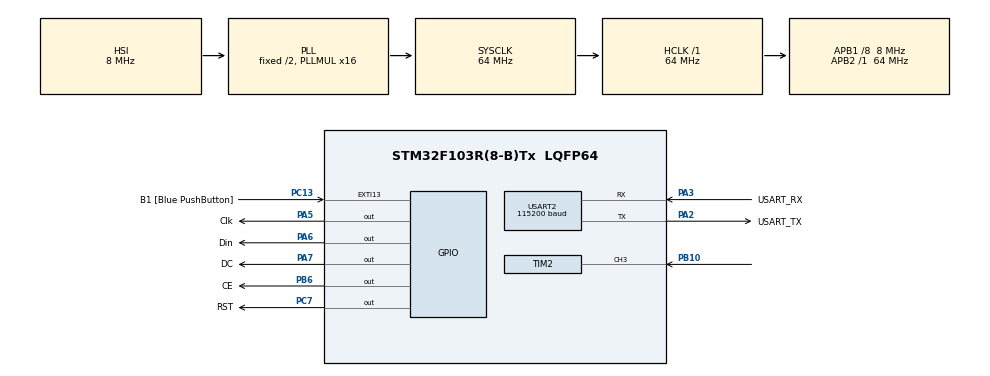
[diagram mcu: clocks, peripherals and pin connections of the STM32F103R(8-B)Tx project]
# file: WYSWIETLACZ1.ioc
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Mcu.Family=STM32F1
Mcu.Name=STM32F103R(8-B)Tx
Mcu.Package=LQFP64
NVIC.EXTI15_10_IRQn=true\:0\:0\:false\:false\:true\:true\:true
NVIC.PriorityGroup=NVIC_PRIORITYGROUP_4
NVIC.TIM2_IRQn=true\:0\:0\:false\:false\:true\:true\:true
NVIC.USART2_IRQn=true\:0\:0\:false\:false\:true\:true\:true
PA13.GPIO_Label=TMS
PA13.Mode=Serial_Wire
PA13.Signal=SYS_JTMS-SWDIO
PA14.GPIO_Label=TCK
PA14.Mode=Serial_Wire
PA14.Signal=SYS_JTCK-SWCLK
PA2.GPIO_Label=USART_TX
PA2.GPIO_Mode=GPIO_MODE_AF_PP
PA2.GPIO_PuPd=GPIO_NOPULL
PA2.GPIO_Speed=GPIO_SPEED_FREQ_LOW
PA2.Mode=Asynchronous
PA2.Signal=USART2_TX
PA3.GPIO_Label=USART_RX
PA3.GPIO_Mode=GPIO_MODE_AF_PP
PA3.GPIO_PuPd=GPIO_NOPULL
PA3.GPIO_Speed=GPIO_SPEED_FREQ_LOW
PA3.Mode=Asynchronous
PA3.Signal=USART2_RX
PA5.GPIO_Label=Clk
PA5.Signal=GPIO_Output
PA6.GPIO_Label=Din
PA6.Signal=GPIO_Output
PA7.GPIO_Label=DC
PA7.Signal=GPIO_Output
PB10.Signal=S_TIM2_CH3
PB3.GPIO_Label=SWO
PB3.Signal=SYS_JTDO-TRACESWO
PB6.GPIO_Label=CE
PB6.Signal=GPIO_Output
PC13-TAMPER-RTC.GPIO_Label=B1 [Blue PushButton]
PC13-TAMPER-RTC.GPIO_PuPd=GPIO_NOPULL
PC13-TAMPER-RTC.Signal=GPXTI13
PC14-OSC32_IN.Mode=LSE-External-Oscillator
PC14-OSC32_IN.Signal=RCC_OSC32_IN
PC15-OSC32_OUT.Mode=LSE-External-Oscillator
PC15-OSC32_OUT.Signal=RCC_OSC32_OUT
PC7.GPIO_Label=RST
PC7.Signal=GPIO_Output
PD0-OSC_IN.Mode=HSE-External-Clock-Source
PD0-OSC_IN.Signal=RCC_OSC_IN
PD1-OSC_OUT.Mode=HSE-External-Clock-Source
PD1-OSC_OUT.Signal=RCC_OSC_OUT
ProjectManager.HeapSize=0x200
ProjectManager.StackSize=0x400
ProjectManager.TargetToolchain=STM32CubeIDE
RCC.AHBFreq_Value=64000000
RCC.APB1CLKDivider=RCC_HCLK_DIV8
RCC.APB1Freq_Value=8000000
RCC.APB1TimFreq_Value=16000000
RCC.APB2Freq_Value=64000000
RCC.APB2TimFreq_Value=64000000
RCC.HCLKFreq_Value=64000000
RCC.PLLMUL=RCC_PLL_MUL16
RCC.RTCClockSelection=RCC_RTCCLKSOURCE_LSE
RCC.SYSCLKFreq_VALUE=64000000
RCC.SYSCLKSource=RCC_SYSCLKSOURCE_PLLCLK
RCC.USBFreq_Value=64000000
SH.S_TIM2_CH3.0=TIM2_CH3,Input_Capture3_from_TI3
TIM1.Period=(1000000 / 1000) - 1
TIM2.Channel-Input_Capture3_from_TI3=TIM_CHANNEL_3
TIM2.Period=0xffff
TIM2.Prescaler=32-1
USART2.BaudRate=115200
USART2.VirtualMode=VM_ASYNC
VP_TIM1_VS_ClockSourceINT.Mode=Internal
board=NUCLEO-F103RB

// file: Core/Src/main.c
/* USER CODE BEGIN Header */
/**
  ******************************************************************************
  * @file           : main.c
  * @brief          : Main program body
  ******************************************************************************
  * @attention
  *
  * <h2><center>&copy; Copyright (c) 2021 STMicroelectronics.
  * All rights reserved.</center></h2>
  *
  * This software component is licensed by ST under BSD 3-Clause license,
  * the "License"; You may not use this file except in compliance with the
  * License. You may obtain a copy of the License at:
  *                        opensource.org/licenses/BSD-3-Clause
  *
  ******************************************************************************
  */
/* USER CODE END Header */
#include "main.h"
#include "tim.h"
#include "usart.h"
#include "gpio.h"

/* USER CODE BEGIN Includes */
#include <stdio.h>
#include <stdbool.h>
#include "math.h"
#include "nokia5110_LCD.h"

/* USER CODE END Includes */

/* USER CODE BEGIN PM */
#define numReadings 30
/* USER CODE END PM */

/* USER CODE BEGIN PV */

//USART
char RxBUF[200]; // bufor do odbioru
char TxBUF[200]; // bufor do nadawania
uint8_t temp[1]; // zmienna na pojedynczy znak
uint8_t rx_e = 0, rx_f = 0; // wskaźniki w buforze do odbioru
uint8_t tx_e = 0, tx_f = 0; // wskaźniki w buforze do nadawania

//Protokół
uint8_t counter = 0; // wskaźnik dla komendy bufora odbiorczego
bool frameStarted = false; // wskaźnik odczytania początku ramki
bool frameCompleted = false; // wskaźnik kompletności ramki
int dataLength; // długośc pola danych
bool sign0xEAIsRead = false; // wskaźnik odczytania znaku specjalnego
uint8_t error;
char frame[100];
bool crcCorrect; // wskaźnik poprawności kodu kontrolnego
char crc[2]; // kod kontrolny odczytany w ramce
char hello_command[] = "Hello, I am STM32!!! \n\r";

//Licznie impulsów
int readings[numReadings];
int indeks = 0;
long value_1 = 0;
long value_2 = 0;
long Difference = 0;
int CPM = 0;
bool Is_First_Captured = 0;
int total = 0;
float uSperH;
int meanCPM = 0;
float uSperHmax = 0.0;
/* USER CODE END PV */

void SystemClock_Config(void);
/* USER CODE BEGIN PFP */

// KONFIGURACJA PINÓW NA STMF103RB:

//WYSWIETLACZ:
//RST --> PC7
//CE  --> PB6
//DC  --> PA7
//Din --> PA6
//Clk --> PA5

void HAL_TIM_IC_CaptureCallback(TIM_HandleTypeDef *htim2)
{
	if (htim2->Channel == HAL_TIM_ACTIVE_CHANNEL_3)  // tim 2 i channel 3 jest aktywny
	{
		if (Is_First_Captured==0)  // jeśli flaga jest równa zero to wykonujemy:
		{
			value_1 = HAL_TIM_ReadCapturedValue(htim2, TIM_CHANNEL_3);  // pobieramy pierwszą wartość
			Is_First_Captured =1;  // ustawiamy naszą flagę na 1 (true)
		}

		else if (Is_First_Captured)  // jeśli flaga jest podniesiona to:
		{
			value_2 = HAL_TIM_ReadCapturedValue(htim2, TIM_CHANNEL_3);  // pobieramy drugą wartość:

			if (value_2 > value_1)
			{
				Difference = value_2-value_1;   // Wyliczenie różnicy
			}

			else if (value_2 < value_1)
			{
				Difference = ((0xffff-value_1)+value_2) +1; // to samo tylko jeśli value_1 jest większy od 0xffff to nasz prescaler (maksymalna wartość)
			}

			else
			{
				Error_Handler(); //jeśli coś innego to error
			}

			//CPM = ((HAL_RCC_GetPCLK1Freq()/1000)/Difference);  // liczenie wartości CPM
			Is_First_Captured = 0;  // resetowanie flagi naszej.

		}

		CPM = 400000 / Difference;
		//CPM = ((HAL_RCC_GetPCLK1Freq()/1000)/Difference);  // liczenie wartości CPM

		LCD_clrScr();

		uSperH = ((CPM * 0.006666));   // Konwertowanie wartości
		if (uSperH > uSperHmax) {
			  uSperHmax = uSperH;
			}
		char res[1000];
		sprintf(res, "uSH: %.4f", uSperH);
		LCD_print(res,0,3);
		for (int i = 0; i < numReadings; i++) {
			  readings[i] = 0;
			}

		total -= readings[indeks];
		readings[indeks] = CPM;
		total += readings[indeks];
		indeks = (indeks + 1);

		if (indeks >= numReadings){
			indeks = 0;
		}

		meanCPM = total / numReadings;

		 char tab_cpm[1000];
		 sprintf(tab_cpm, "CPM: %d", CPM);
		 LCD_print(tab_cpm,0,2);

		 char tab_meancpm[100];
		 sprintf(tab_meancpm, "MCPM: %d", meanCPM);
		 LCD_print(tab_meancpm,0,4);
	}

}

void HAL_UART_RxCpltCallback(UART_HandleTypeDef *huart) { // odbiór i zapis danych na przerwaniach
			if (huart->Instance == USART2) {
				if (rx_e == 199)
					rx_e = 0;
				else
					rx_e++;
				HAL_UART_Receive_IT(&huart2, &RxBUF[rx_e], 1);
	}
}
void HAL_UART_TxCpltCallback(UART_HandleTypeDef *huart) { // wysyłanie danych na przerwaniach
	if (huart->Instance == USART2) {
		uint8_t temp = TxBUF[tx_f]; // znak do wysłania
		if (tx_f != tx_e) {
			if (tx_f == 199)
				tx_f = 0;
			else
				tx_f++;
			HAL_UART_Transmit_IT(&huart2, &temp, 1);
		}
	}
}

void put(char ch[]) { // dodawanie komend do bufora nadawczego
	uint8_t index = tx_e; // zapamiętanie wartości wskaźnika tx_e
	for (int i = 0; i < strlen(ch); i++) { // dodawanie znaków do bufora
		TxBUF[index] = ch[i];

		if (index == 199)
			index = 0;
		else
			index++;
	}
	__disable_irq();
	if((tx_e == tx_f) && // jeżeli bufor wysyłający był pusty przed dodaniem znaków łańcucha
			(__HAL_UART_GET_FLAG(&huart2, UART_FLAG_TXE) == SET)) {
		tx_e = index; // przesunięcie wskaźnika na puste miejsce po dodaniu znaków łańcucha
		uint8_t tmp = TxBUF[tx_f]; // zapamiętanie znaku do wysłania
		if (tx_f == 199)
			tx_f = 0;
		else
			tx_f++;
		HAL_UART_Transmit_IT(&huart2, &tmp, 1);
	} else // jeżel w buforze są dane
		tx_e = index; // znaki łańcucha czekają w kolejce w buforze
	__enable_irq();
}

void readChar() {

	if (RxBUF[rx_f] == 0xEE) { // znak początku ramki
		counter = 0; // ustawienie wartości startowych zmiennych
		frameStarted = true;  // wskaźnik czy ramka się zaczęła
		frameCompleted = false; //wskaźnik czy ramka się skończyła
		dataLength = 0;  // długość pola danych
		sign0xEAIsRead = false;
		for(int i = 0; i < 14; i++){
			frame[i] = 0x00;
		}
		error = 0;
	}

	if (!frameStarted) {
		if (rx_f == 199)
				rx_f = 0;
		else
				rx_f++;
		return;
	}

	frame[counter] = RxBUF[rx_f]; // przepisanie znaku bufora

	if (counter == 5 + dataLength) { // sprawdzenie, czy odczytano ostatni znak ramki
		frameCompleted = true;
	}

	if (!frameCompleted) {
		if (counter == 1) {
			if (frame[1] > 0x08) { // błędna zawartośc pola LENGTH

				error = 0x09;
				my_Error_Handler();
				return;
			}
			else
				dataLength = frame[1];  // długośc pola DATA przed ew. przekodowaniem
		}
		if (counter == 2) {
			char test = frame[2] ^ frame[1];
			if (test != 0xFF)  { // błędna zawartośc pola NOT_LENGTH
				error = 0x08;
				my_Error_Handler();
				return;
			}
		}
		if (dataLength > 0) {  //sprawdza wtedy kiedy dataLengt jest większe od zera
			if (counter > 3 && counter <= counter + dataLength) { // pole DATA
				if (sign0xEAIsRead) { // sprawdzenie czy poprzedni znak to 0xEA
					sign0xEAIsRead = false;
					if (RxBUF[rx_f] == 0xEB)
						frame[counter] = 0xEE; // dekodowanie znaku 0xEE
					else if (RxBUF[rx_f] == 0xEC)
						frame[counter] = 0xEA; // dekodowanie znaku 0xEA
					else {
						error = 0x07;
						my_Error_Handler();
						return;
					}
				}
				if (frame[counter] == 0xEA) {
					sign0xEAIsRead = true;
					counter--;  // w celu przykrycia bieżącego znaku przez następny
				}
			}
		}
		if (counter == 5 + dataLength)
			frameCompleted = true; // przeczytano wszystkie znaki ramki
	}

	if (frameCompleted) {    // jeżeli ramka jest przeczytana to sprawdzamy CRC
		checkCRC();
		if (!crcCorrect) {  // jeśli jest zła to wyświetlamy błąd
			error = 0x06;
			my_Error_Handler();
			return;
		} else          // jeśli wszystko jest dobrze to możemy zacząć analizować ramkę (sprawdzamy polecenia)
			 //Wybór komendy oraz obsługa błędu
			switch(frame[3]){ // komendy
					case  0x55:
						put("\nkomenda 0x55");

						LCD_clrScr();
						char tab_meancpm[100];
						sprintf(tab_meancpm, "MCPM: %d", meanCPM);
						LCD_print(tab_meancpm,0,4);

						break;

					case 0x22:
						put("\nkomenda 0x22");

						LCD_clrScr();
						char res[1000];
						sprintf(res, "uSH: %.4f", uSperH);
						LCD_print(res,0,1);

						break;
					case 0x11:
						put("\nkomenda 0x11");

						LCD_clrScr();
						char tab_cpm[1000];
						sprintf(tab_cpm, "CPM: %d", CPM);
						LCD_print(tab_cpm,0,2);

						break;
					case 0x66:
						put("\nkomenda 0x66");
						LCD_clrScr();
						LCD_print("Milo Mi!",0,0);

						break;
					case 0x33:
						put("\nkomenda 0x33");
						break;

					default:
						error = 0x05;  // nierozpoznane polecenie
						my_Error_Handler();
						return;
						break;
		}
	}
	if (rx_f == 199)
			rx_f = 0;
	else
			rx_f++;
	counter++;
}

void checkCRC() {//Obliczanie CRC
	crc[0] = crc[1] = 0x00;
	int frameLength = 4 + dataLength; // długość ramki to znak  początka, leng, notg i komenda dlatego 4+)
 	for(int i = 0; i < frameLength; i++) { // sprawdzanie kolejnych bajtów ramki
 		char byte = frame[i];
 		int numberOf1 = 0;
 		for(int j = 0; j < 8; j++){ // zliczanie jedynek w bitach kolejnego bajtu
 			if (byte & 0x01)
 				numberOf1++;
 			byte >>= 1;
 		}
 		if (numberOf1 == 1 || numberOf1 == 3 || numberOf1 == 5 || numberOf1 == 7)
 			crc[1] |= 0x01; // ustawienie najmłodszego bitu kodu crc

 		crc[0] <<= 1;		// przesunięcie bitowe słowa 16-bitowego
 		if (crc[1] & 0x80)
 			crc[0] |= 0x01;
 		crc[1] <<= 1;
 	}
 	for(int i = 0; i < 15 - frameLength; i++) { // przesunięcie do najstarszego bitu
 		crc[0] <<= 1;
 		if (crc[1] & 0x80)
 			crc[0] |= 0x01;
 		crc[1] <<= 1;
 	}
 	// Porównanie otrzymanego CRC z obliczonym
 	if (frame[counter - 1] == crc[0] && frame[counter] == crc[1])
 		crcCorrect = true;
 	else
 		crcCorrect = false;
}

/* USER CODE END PFP */

int main(void)
{
  /* USER CODE BEGIN 1 */
	LCD_setRST(RST_GPIO_Port, RST_Pin);
	LCD_setCE(CE_GPIO_Port, CE_Pin);
	LCD_setDC(DC_GPIO_Port, DC_Pin);
	LCD_setDIN(Din_GPIO_Port, Din_Pin);
	LCD_setCLK(Clk_GPIO_Port, Clk_Pin);

  /* USER CODE END 1 */

  /* MCU Configuration--------------------------------------------------------*/

  /* Reset of all peripherals, Initializes the Flash interface and the Systick. */
  HAL_Init();

  /* Configure the system clock */
  SystemClock_Config();

  /* Initialize all configured peripherals */
  MX_GPIO_Init();
  MX_USART2_UART_Init();
  MX_TIM2_Init();
  MX_TIM1_Init();
  /* USER CODE BEGIN 2 */

  HAL_TIM_IC_Start_IT(&htim2, TIM_CHANNEL_3);

  HAL_UART_Receive_IT(&huart2, &RxBUF[rx_e], 1);

  put("\nWpisz ramke: ");

  LCD_init();

  /* USER CODE END 2 */

  /* Infinite loop */
  while (1)
  {

    /* USER CODE BEGIN 3 */

	  if (rx_e != rx_f)
		  readChar();
  }
  /* USER CODE END 3 */
}

void SystemClock_Config(void)
{
  RCC_OscInitTypeDef RCC_OscInitStruct = {0};
  RCC_ClkInitTypeDef RCC_ClkInitStruct = {0};

  /** Initializes the RCC Oscillators according to the specified parameters
  * in the RCC_OscInitTypeDef structure.
  */
  RCC_OscInitStruct.OscillatorType = RCC_OSCILLATORTYPE_HSI;
  RCC_OscInitStruct.HSIState = RCC_HSI_ON;
  RCC_OscInitStruct.HSICalibrationValue = RCC_HSICALIBRATION_DEFAULT;
  RCC_OscInitStruct.PLL.PLLState = RCC_PLL_ON;
  RCC_OscInitStruct.PLL.PLLSource = RCC_PLLSOURCE_HSI_DIV2;
  RCC_OscInitStruct.PLL.PLLMUL = RCC_PLL_MUL16;
  if (HAL_RCC_OscConfig(&RCC_OscInitStruct) != HAL_OK)
  {
    Error_Handler();
  }
  /** Initializes the CPU, AHB and APB buses clocks
  */
  RCC_ClkInitStruct.ClockType = RCC_CLOCKTYPE_HCLK|RCC_CLOCKTYPE_SYSCLK
                              |RCC_CLOCKTYPE_PCLK1|RCC_CLOCKTYPE_PCLK2;
  RCC_ClkInitStruct.SYSCLKSource = RCC_SYSCLKSOURCE_PLLCLK;
  RCC_ClkInitStruct.AHBCLKDivider = RCC_SYSCLK_DIV1;
  RCC_ClkInitStruct.APB1CLKDivider = RCC_HCLK_DIV8;
  RCC_ClkInitStruct.APB2CLKDivider = RCC_HCLK_DIV1;

  if (HAL_RCC_ClockConfig(&RCC_ClkInitStruct, FLASH_LATENCY_2) != HAL_OK)
  {
    Error_Handler();
  }
}

/* USER CODE BEGIN 4 */

void my_Error_Handler()
{
	counter = 0;
	frameStarted = false;
	frameCompleted = false;
	dataLength = 0;
	sign0xEAIsRead = false;
	for(int i = 0; i < 14; i++){
		frame[i] = 0x00;
	}
	if (rx_f == 199)
			rx_f = 0;
	else
			rx_f++;

	switch (error) {
	case 0x05: put("\nNierozpoznane polecenie. ");                      //EE00FF000000
			   break;
	case 0x06: put("\nBledny kod CRC. ");			                      //EE00FF110001
			   break;
	case 0x07: put("\nBledny znak po znaku 0xEA. ");                    //EE01FE33EA00
			   break;
	case 0x08: put("\nBledna struktura ramki. ");                       //EE0022
			   break;
	case 0x09: put("\nBledna zawartosc pola LENGTH. ");                //EEFF00
			   break;							                       // dobra:EE00FF330000, EE08F73304040404040404046FF0, EE01FE660660
	case 0x0A: put("\nPrzekroczony zakres amplitudy ");
			   break;
	default:   put("\nNierozpoznany kod bledu. ");
			   break;
	}
}

/* USER CODE END 4 */

void Error_Handler(void)
{
  __disable_irq();
  while (1)
  {
  }
}

/************************ (C) COPYRIGHT STMicroelectronics *****END OF FILE****/
